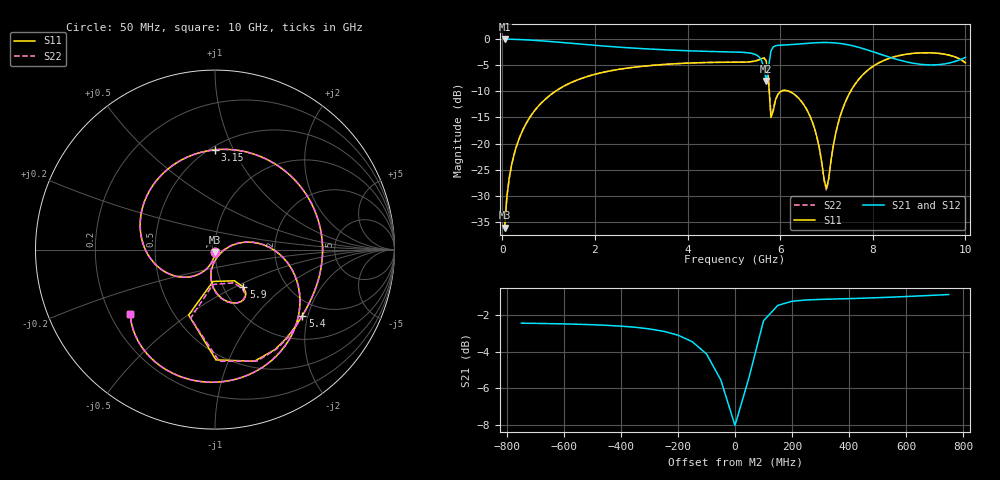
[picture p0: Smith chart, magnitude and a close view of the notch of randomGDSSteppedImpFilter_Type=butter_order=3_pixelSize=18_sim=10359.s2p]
! freq	dB(S11)	phase(S11)	dB(S12)	phase(S12)
!  dB(S21)	phase(S21)	dB(S22)	phase(S22)
!S-par simulation data
#  GHz  S  DB  R 50
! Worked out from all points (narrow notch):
!   200 points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, 50 MHz to 10 GHz, reference 50 ohm
!   highest |S21| = -0.01 dB at 50 MHz (marker M1); lowest = -8.0 dB at 5.7 GHz (marker M2)
!   notch at M2: 6.2 dB deep, 129 MHz wide at half that depth
!   lowest |S11| = -36.1 dB at 50 MHz (marker M3), VSWR 1.03, Z = 49.9 - j1.57 ohm
!   |S11| at or under -10 dB: start of sweep to 1.146 GHz; 5.764 GHz to 6.02 GHz (256.3 MHz wide, 4.35 % of centre); 6.196 GHz to 7.522 GHz (1.325 GHz wide, 19.3 % of centre)
!   |S22| runs from -36.1 to -2.6 dB; largest |S21 - S12| = 0
!   S11 on the Smith chart (normalised r, x): 50 MHz: 1.00, -0.03; 3.15 GHz: 0.53, +0.85; 5.4 GHz: 1.58, -1.84; 5.9 GHz: 1.24, -0.55; 10 GHz: 0.28, -0.31
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0.05  -36.07 -92.8  -0.01 -3.1  -0.01 -3.1  -36.07 -92.8
0.2  -24.12 -102.3  -0.04 -12.3  -0.04 -12.3  -24.12 -102.3
0.5  -16.39 -120.8  -0.15 -30.4  -0.15 -30.4  -16.39 -120.8
1.1  -10.28 -156.4  -0.52 -65.8  -0.52 -65.8  -10.28 -156.4
1.75  -7.40 166.7  -1.01 -102.7  -1.01 -102.7  -7.40 166.7
2.5  -5.81 125.5  -1.54 -143.9  -1.54 -143.9  -5.82 125.5
3.15  -5.10 90.2  -1.89 -179.2  -1.89 -179.2  -5.10 90.3
3.4  -4.92 76.7  -2.01 167.2  -2.01 167.2  -4.92 76.7
4.3  -4.51 27.8  -2.33 117.9  -2.33 117.9  -4.51 27.9
5.05  -4.44 -14.2  -2.49 75.4  -2.49 75.4  -4.44 -14.0
5.4  -4.29 -37.1  -2.77 53.2  -2.77 53.2  -4.29 -36.6
5.6  -3.75 -59.1  -4.13 37.1  -4.13 37.1  -3.72 -58.2
5.7  -4.23 -89.5  -8.00 45.7  -8.00 45.7  -4.12 -87.9
5.8  -14.99 -93.7  -2.33 62.2  -2.33 62.2  -14.20 -93.6
5.9  -11.66 -52.8  -1.27 43.5  -1.27 43.5  -11.56 -54.8
6.25  -10.24 -73.4  -1.05 12.8  -1.05 12.8  -10.24 -74.0
6.7  -15.96 -98.1  -0.74 -19.7  -0.74 -19.7  -15.98 -98.7
7  -28.64 -40.9  -0.66 -42.4  -0.66 -42.4  -28.95 -41.0
7.45  -11.21 5.3  -1.06 -77.6  -1.06 -77.6  -11.22 5.5
8.35  -3.71 -51.2  -3.44 -140.3  -3.44 -140.3  -3.71 -51.2
9.2  -2.62 -96.4  -4.94 172.5  -4.94 172.5  -2.62 -96.3
10  -4.54 -142.9  -3.51 122.7  -3.51 122.7  -4.54 -142.7
